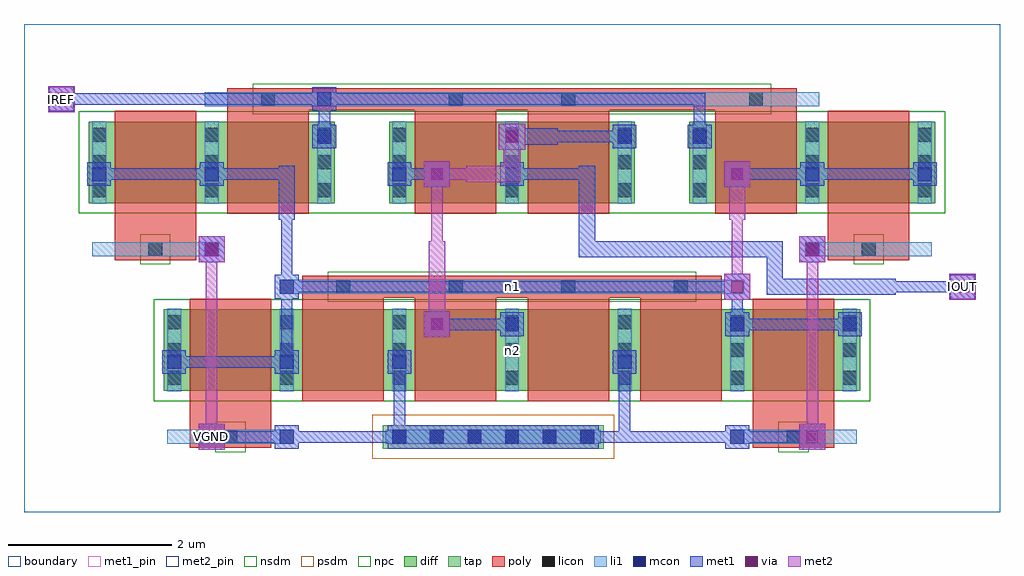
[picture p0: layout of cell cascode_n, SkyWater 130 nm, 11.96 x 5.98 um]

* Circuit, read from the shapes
.subckt cascode_n IOUT IREF VGND n1 n2
XM1 n1 VGND n1 VGND sky130_fd_pr__nfet_01v8 w=1 l=1 m=4
XM2 IREF IREF n1 VGND sky130_fd_pr__nfet_01v8 w=1 l=1 m=2
XM3 VGND n1 n1 VGND sky130_fd_pr__nfet_01v8 w=1 l=1 m=2
XM4 n2 n1 VGND VGND sky130_fd_pr__nfet_01v8 w=1 l=1 m=2
XM5 IOUT IREF n2 VGND sky130_fd_pr__nfet_01v8 w=1 l=1 m=2
.ends

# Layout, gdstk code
import gdstk
lib = gdstk.Library(unit=1e-6, precision=1e-09)
def R(c, l, rs):  # rectangles x0, y0, x1, y1
    for r in rs: c.add(gdstk.rectangle(r[:2], r[2:], *l))
def A(c, l, x, y, w, h, nx, ny, dx, dy):  # array of equal rectangles
    R(c, l, [(x+i*dx, y+j*dy, x+i*dx+w, y+j*dy+h) for i in range(nx) for j in range(ny)])
diff = (65, 20)
tap = (65, 44)
poly = (66, 20)
licon = (66, 44)
li1 = (67, 20)
mcon = (67, 44)
met1_pin = (68, 16)
met1 = (68, 20)
via = (68, 44)
met2_pin = (69, 16)
met2 = (69, 20)
nsdm = (93, 44)
psdm = (94, 20)
npc = (95, 20)
boundary = (235, 4)

cascode_n = lib.new_cell('cascode_n')
A(cascode_n, diff, 0.795, 3.785, 3.01, 1, 3, 1, 3.68, 0)
R(cascode_n, diff, [(1.715,1.485,10.245,2.485)])
R(cascode_n, tap, [(4.395,0.775,7.105,1.065)])
A(cascode_n, poly, 3.41, 1.355, 1, 1.405, 4, 1, 1.38, 0)
R(cascode_n, poly, [(2.03,0.785,3.03,1.055), (8.93,0.785,9.93,1.055), (2.03,0.92,3.03,2.615), (8.93,0.92,9.93,2.615), (3.41,2.625,8.55,2.895), (1.11,3.085,2.11,3.355), (9.85,3.085,10.85,3.355), (1.11,3.22,2.11,4.915), (9.85,3.22,10.85,4.915), (2.49,3.655,3.49,5.06), (4.79,3.655,5.79,5.06), (6.17,3.655,7.17,5.06), (8.47,3.655,9.47,5.06), (2.49,4.925,9.47,5.195)])
A(cascode_n, licon, 4.515, 0.835, 0.17, 0.17, 6, 1, 0.46, 0)
A(cascode_n, licon, 1.755, 1.56, 0.17, 0.17, 7, 3, 1.38, 0.34)
A(cascode_n, licon, 3.825, 2.675, 0.17, 0.17, 4, 1, 1.38, 0)
A(cascode_n, licon, 0.835, 3.86, 0.17, 0.17, 3, 3, 1.38, 0.34)
A(cascode_n, licon, 4.515, 3.86, 0.17, 0.17, 3, 3, 1.38, 0.34)
A(cascode_n, licon, 8.195, 3.86, 0.17, 0.17, 3, 3, 1.38, 0.34)
R(cascode_n, licon, [(2.445,0.835,2.615,1.005), (9.345,0.835,9.515,1.005), (1.525,3.135,1.695,3.305), (10.265,3.135,10.435,3.305), (2.905,4.975,3.075,5.145), (5.205,4.975,5.375,5.145), (6.585,4.975,6.755,5.145), (8.885,4.975,9.055,5.145)])
A(cascode_n, li1, 1.755, 1.48, 0.17, 1.01, 7, 1, 1.38, 0)
A(cascode_n, li1, 0.835, 3.78, 0.17, 1.01, 3, 1, 1.38, 0)
A(cascode_n, li1, 4.515, 3.78, 0.17, 1.01, 3, 1, 1.38, 0)
A(cascode_n, li1, 8.195, 3.78, 0.17, 1.01, 3, 1, 1.38, 0)
R(cascode_n, li1, [(1.755,0.835,3.305,1.005), (4.435,0.835,7.065,1.005), (8.655,0.835,10.205,1.005), (3.135,2.675,8.825,2.845), (0.835,3.135,2.385,3.305), (9.575,3.135,11.125,3.305), (2.215,4.975,9.745,5.145)])
A(cascode_n, mcon, 4.515, 0.835, 0.17, 0.17, 6, 1, 0.46, 0)
A(cascode_n, mcon, 1.755, 1.755, 0.17, 0.17, 3, 1, 1.38, 0)
R(cascode_n, mcon, [(3.135,0.835,3.305,1.005), (8.655,0.835,8.825,1.005), (7.275,1.755,7.445,1.925), (5.895,2.215,6.065,2.385), (8.655,2.215,8.825,2.385), (10.035,2.215,10.205,2.385), (3.135,2.675,3.305,2.845), (2.215,3.135,2.385,3.305), (9.575,3.135,9.745,3.305), (0.835,4.055,1.005,4.225), (2.215,4.055,2.385,4.225), (4.515,4.055,4.685,4.225), (5.895,4.055,6.065,4.225), (9.575,4.055,9.745,4.225), (10.955,4.055,11.125,4.225), (3.595,4.515,3.765,4.685), (7.275,4.515,7.445,4.685), (8.195,4.515,8.365,4.685), (3.595,4.975,3.765,5.145)])
R(cascode_n, met1_pin, [(2.14,0.76,2.46,1.08)])
A(cascode_n, met1, 1.695, 1.695, 0.29, 0.29, 3, 1, 1.38, 0)
R(cascode_n, met1, [(2.14,0.76,2.46,1.08), (9.5,0.76,9.82,1.08), (3.075,0.775,3.365,1.065), (4.455,0.775,7.045,1.065), (8.595,0.775,8.885,1.065), (2.23,0.85,3.29,0.99), (3.15,0.85,4.67,0.99), (4.53,0.85,4.67,0.99), (4.53,0.85,4.67,1.91), (4.53,0.85,7.43,0.99), (7.29,0.85,7.43,1.91), (7.29,0.85,8.81,0.99), (8.67,0.85,9.73,0.99), (7.215,1.695,7.505,1.985), (1.77,1.77,3.29,1.91), (3.15,1.77,3.29,2.83), (4.9,2.14,5.22,2.46), (5.835,2.155,6.125,2.445), (8.595,2.155,8.885,2.445), (9.975,2.155,10.265,2.445), (4.99,2.23,6.05,2.37), (8.67,2.23,10.19,2.37), (8.67,2.23,8.81,2.83), (8.58,2.6,8.9,2.92), (11.34,2.6,11.66,2.92), (3.075,2.615,3.365,2.905), (9.1,2.66,9.3,3.32), (9.1,2.66,10.68,2.86), (3.15,2.69,3.29,3.75), (3.15,2.69,8.81,2.83), (10.51,2.69,11.57,2.83), (2.14,3.06,2.46,3.38), (9.5,3.06,9.82,3.38), (2.155,3.075,2.445,3.365), (9.515,3.075,9.805,3.365), (6.8,3.12,7,4.24), (6.8,3.12,9.3,3.32), (3.12,3.58,3.32,4.24), (4.9,3.98,5.22,4.3), (8.58,3.98,8.9,4.3), (0.775,3.995,1.065,4.285), (2.155,3.995,2.445,4.285), (4.455,3.995,4.745,4.285), (5.835,3.995,6.125,4.285), (9.515,3.995,9.805,4.285), (10.895,3.995,11.185,4.285), (0.85,4.07,2.37,4.21), (2.23,4.07,3.29,4.21), (4.53,4.07,5.13,4.21), (5.91,4.07,6.97,4.21), (8.67,4.07,9.73,4.21), (9.59,4.07,11.11,4.21), (5.82,4.44,6.14,4.76), (3.535,4.455,3.825,4.745), (7.215,4.455,7.505,4.745), (8.135,4.455,8.425,4.745), (5.88,4.5,6.54,4.7), (3.61,4.53,3.75,5.13), (6.37,4.53,7.43,4.67), (8.21,4.53,8.35,5.13), (0.3,4.9,0.62,5.22), (3.535,4.915,3.825,5.205), (0.39,4.99,3.75,5.13), (3.61,4.99,8.35,5.13)])
R(cascode_n, via, [(2.225,0.845,2.375,0.995), (9.585,0.845,9.735,0.995), (4.985,2.225,5.135,2.375), (8.665,2.685,8.815,2.835), (11.425,2.685,11.575,2.835), (2.225,3.145,2.375,3.295), (9.585,3.145,9.735,3.295), (4.985,4.065,5.135,4.215), (8.665,4.065,8.815,4.215), (5.905,4.525,6.055,4.675), (0.385,4.985,0.535,5.135)])
R(cascode_n, met2_pin, [(11.35,2.61,11.65,2.91), (0.31,4.91,0.61,5.21)])
R(cascode_n, met2, [(2.14,0.76,2.46,1.08), (9.5,0.76,9.82,1.08), (2.23,0.85,2.37,3.29), (9.59,0.85,9.73,3.29), (4.9,2.14,5.22,2.46), (4.96,2.2,5.16,3.32), (8.58,2.6,8.9,2.92), (11.34,2.6,11.66,2.92), (11.35,2.61,11.65,2.91), (8.67,2.69,8.81,3.75), (11.43,2.69,11.57,2.83), (2.14,3.06,2.46,3.38), (9.5,3.06,9.82,3.38), (4.99,3.15,5.13,4.21), (8.64,3.58,8.84,4.24), (4.9,3.98,5.22,4.3), (8.58,3.98,8.9,4.3), (5.42,4.04,6.08,4.24), (5.88,4.04,6.08,4.7), (4.99,4.07,5.59,4.21), (5.82,4.44,6.14,4.76), (0.3,4.9,0.62,5.22), (0.31,4.91,0.61,5.21), (0.39,4.99,0.53,5.13)])
R(cascode_n, nsdm, [(1.59,1.36,10.37,2.61), (0.67,3.66,11.29,4.91)])
R(cascode_n, psdm, [(4.27,0.65,7.23,1.19)])
R(cascode_n, npc, [(2.345,0.735,2.715,1.105), (9.245,0.735,9.615,1.105), (3.725,2.575,8.235,2.945), (1.425,3.035,1.795,3.405), (10.165,3.035,10.535,3.405), (2.805,4.875,9.155,5.245)])
R(cascode_n, boundary, [(0,0,11.96,5.98)])
cascode_n.add(gdstk.Label('n1', (5.98,2.76), layer=67, texttype=5))
cascode_n.add(gdstk.Label('n2', (5.98,1.985), layer=67, texttype=5))
cascode_n.add(gdstk.Label('VGND', (2.3,0.92), layer=68, texttype=5))
cascode_n.add(gdstk.Label('IREF', (0.46,5.06), layer=69, texttype=5))
cascode_n.add(gdstk.Label('IOUT', (11.5,2.76), layer=69, texttype=5))
cascode_n.add(gdstk.Label('VGND', (2.3,0.92), layer=68, texttype=16))
cascode_n.add(gdstk.Label('IREF', (0.46,5.06), layer=69, texttype=16))
cascode_n.add(gdstk.Label('IOUT', (11.5,2.76), layer=69, texttype=16))

lib.write_gds('cascode_n.gds')
